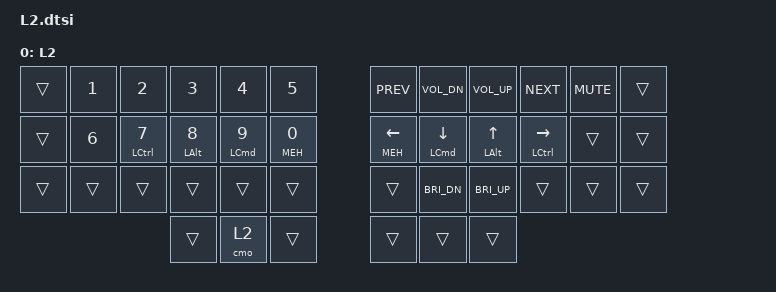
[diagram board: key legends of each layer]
/**
 * Numeric, Navigation and Media Controls Layer
 */

 / {
   keymap {
     compatible = "zmk,keymap";
     layer_2 {
       display-name = "L2";
       bindings = <
         &trans  &kp N1  &kp N2  &kp N3  &kp N4  &kp N5  &kp C_PREV  &kp C_VOL_DN  &kp C_VOL_UP  &kp C_NEXT  &kp C_MUTE  &trans
         &trans  &kp N6  &hrml LCTRL N7  &hrml LALT N8  &hrml LCMD N9  &hrml MEH N0  &hrmr MEH LEFT  &hrmr LCMD DOWN  &hrmr LALT UP  &hrmr LCTRL RIGHT  &trans  &trans
         &trans  &trans  &trans  &trans  &trans  &trans  &trans  &kp C_BRI_DN  &kp C_BRI_UP  &trans  &trans  &trans
         &trans  &cmo L2  &trans  &trans  &trans  &trans
       >;
     };
   };
 };
